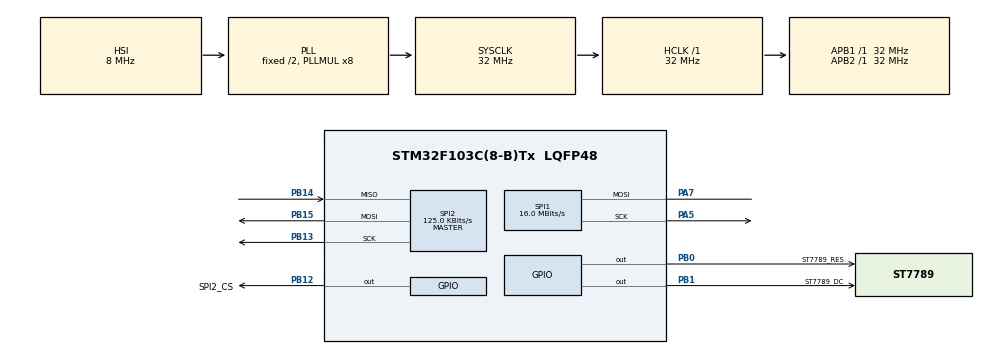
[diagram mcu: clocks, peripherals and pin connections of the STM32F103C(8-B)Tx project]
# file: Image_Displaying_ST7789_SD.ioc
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Mcu.Family=STM32F1
Mcu.Name=STM32F103C(8-B)Tx
Mcu.Package=LQFP48
NVIC.PriorityGroup=NVIC_PRIORITYGROUP_4
PA13.Mode=Serial_Wire
PA13.Signal=SYS_JTMS-SWDIO
PA14.Mode=Serial_Wire
PA14.Signal=SYS_JTCK-SWCLK
PA5.Mode=Simplex_Bidirectional_Master
PA5.Signal=SPI1_SCK
PA7.Mode=Simplex_Bidirectional_Master
PA7.Signal=SPI1_MOSI
PB0.GPIO_Label=ST7789_RES
PB0.GPIO_Speed=GPIO_SPEED_FREQ_HIGH
PB0.PinState=GPIO_PIN_SET
PB0.Signal=GPIO_Output
PB1.GPIO_Label=ST7789_DC
PB1.GPIO_Speed=GPIO_SPEED_FREQ_HIGH
PB1.Signal=GPIO_Output
PB12.GPIO_Label=SPI2_CS
PB12.GPIO_Speed=GPIO_SPEED_FREQ_HIGH
PB12.PinState=GPIO_PIN_SET
PB12.Signal=GPIO_Output
PB13.Mode=Full_Duplex_Master
PB13.Signal=SPI2_SCK
PB14.Mode=Full_Duplex_Master
PB14.Signal=SPI2_MISO
PB15.Mode=Full_Duplex_Master
PB15.Signal=SPI2_MOSI
ProjectManager.HeapSize=0x200
ProjectManager.StackSize=0x400
ProjectManager.TargetToolchain=STM32CubeIDE
RCC.AHBFreq_Value=32000000
RCC.APB1Freq_Value=32000000
RCC.APB1TimFreq_Value=32000000
RCC.APB2Freq_Value=32000000
RCC.APB2TimFreq_Value=32000000
RCC.HCLKFreq_Value=32000000
RCC.PLLMUL=RCC_PLL_MUL8
RCC.SYSCLKFreq_VALUE=32000000
RCC.SYSCLKSource=RCC_SYSCLKSOURCE_PLLCLK
RCC.USBFreq_Value=32000000
SPI1.CalculateBaudRate=16.0 MBits/s
SPI1.Direction=SPI_DIRECTION_1LINE
SPI1.Mode=SPI_MODE_MASTER
SPI1.VirtualType=VM_MASTER
SPI2.BaudRatePrescaler=SPI_BAUDRATEPRESCALER_256
SPI2.CalculateBaudRate=125.0 KBits/s
SPI2.Direction=SPI_DIRECTION_2LINES
SPI2.Mode=SPI_MODE_MASTER
SPI2.VirtualType=VM_MASTER
VP_FATFS_VS_Generic.Mode=User_defined
board=custom

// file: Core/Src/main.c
/* USER CODE BEGIN Header */
/**
  ******************************************************************************
  * @file           : main.c
  * @brief          : Main program body
  ******************************************************************************
  * @attention
  *
  * Copyright (c) 2024 STMicroelectronics.
  * All rights reserved.
  *
  * This software is licensed under terms that can be found in the LICENSE file
  * in the root directory of this software component.
  * If no LICENSE file comes with this software, it is provided AS-IS.
  *
  ******************************************************************************
  */
/* USER CODE END Header */
#include "main.h"
#include "fatfs.h"

/* USER CODE BEGIN Includes */
#include "fonts.h"
#include "st7789.h"

/* USER CODE END Includes */

/* USER CODE BEGIN PD */
#define PIXEL_BUF_SIZE 450
/* USER CODE END PD */

SPI_HandleTypeDef hspi1;
SPI_HandleTypeDef hspi2;

void SystemClock_Config(void);
static void MX_GPIO_Init(void);
static void MX_SPI1_Init(void);
static void MX_SPI2_Init(void);
/* USER CODE BEGIN PFP */
static void DrawImage_SD(TCHAR* imagePath);
/* USER CODE END PFP */

int main(void)
{

  /* MCU Configuration--------------------------------------------------------*/

  /* Reset of all peripherals, Initializes the Flash interface and the Systick. */
  HAL_Init();

  /* Configure the system clock */
  SystemClock_Config();

  /* Initialize all configured peripherals */
  MX_GPIO_Init();
  MX_FATFS_Init();
  MX_SPI1_Init();
  MX_SPI2_Init();
  /* USER CODE BEGIN 2 */

  ST7789_Init();

  disk_initialize(0);

  FATFS   fs;
  TCHAR   dstPath[] = "\\h1\\922817.bmp";

  if (f_mount(&fs, "", 1) == FR_OK)
  {
	  DrawImage_SD(dstPath);
  }
  /* USER CODE END 2 */
}

void SystemClock_Config(void)
{
  RCC_OscInitTypeDef RCC_OscInitStruct = {0};
  RCC_ClkInitTypeDef RCC_ClkInitStruct = {0};

  /** Initializes the RCC Oscillators according to the specified parameters
  * in the RCC_OscInitTypeDef structure.
  */
  RCC_OscInitStruct.OscillatorType = RCC_OSCILLATORTYPE_HSI;
  RCC_OscInitStruct.HSIState = RCC_HSI_ON;
  RCC_OscInitStruct.HSICalibrationValue = RCC_HSICALIBRATION_DEFAULT;
  RCC_OscInitStruct.PLL.PLLState = RCC_PLL_ON;
  RCC_OscInitStruct.PLL.PLLSource = RCC_PLLSOURCE_HSI_DIV2;
  RCC_OscInitStruct.PLL.PLLMUL = RCC_PLL_MUL8;
  if (HAL_RCC_OscConfig(&RCC_OscInitStruct) != HAL_OK)
  {
    Error_Handler();
  }

  /** Initializes the CPU, AHB and APB buses clocks
  */
  RCC_ClkInitStruct.ClockType = RCC_CLOCKTYPE_HCLK|RCC_CLOCKTYPE_SYSCLK
                              |RCC_CLOCKTYPE_PCLK1|RCC_CLOCKTYPE_PCLK2;
  RCC_ClkInitStruct.SYSCLKSource = RCC_SYSCLKSOURCE_PLLCLK;
  RCC_ClkInitStruct.AHBCLKDivider = RCC_SYSCLK_DIV1;
  RCC_ClkInitStruct.APB1CLKDivider = RCC_HCLK_DIV1;
  RCC_ClkInitStruct.APB2CLKDivider = RCC_HCLK_DIV1;

  if (HAL_RCC_ClockConfig(&RCC_ClkInitStruct, FLASH_LATENCY_1) != HAL_OK)
  {
    Error_Handler();
  }
}

static void MX_SPI1_Init(void)
{

  /* SPI1 parameter configuration*/
  hspi1.Instance = SPI1;
  hspi1.Init.Mode = SPI_MODE_MASTER;
  hspi1.Init.Direction = SPI_DIRECTION_1LINE;
  hspi1.Init.DataSize = SPI_DATASIZE_8BIT;
  hspi1.Init.CLKPolarity = SPI_POLARITY_LOW;
  hspi1.Init.CLKPhase = SPI_PHASE_1EDGE;
  hspi1.Init.NSS = SPI_NSS_SOFT;
  hspi1.Init.BaudRatePrescaler = SPI_BAUDRATEPRESCALER_2;
  hspi1.Init.FirstBit = SPI_FIRSTBIT_MSB;
  hspi1.Init.TIMode = SPI_TIMODE_DISABLE;
  hspi1.Init.CRCCalculation = SPI_CRCCALCULATION_DISABLE;
  hspi1.Init.CRCPolynomial = 10;
  if (HAL_SPI_Init(&hspi1) != HAL_OK)
  {
    Error_Handler();
  }
  /* USER CODE BEGIN SPI1_Init 2 */
  hspi1.Instance->CR1 |= SPI_CR1_BIDIOE;
  /* USER CODE END SPI1_Init 2 */

}

static void MX_SPI2_Init(void)
{

  /* SPI2 parameter configuration*/
  hspi2.Instance = SPI2;
  hspi2.Init.Mode = SPI_MODE_MASTER;
  hspi2.Init.Direction = SPI_DIRECTION_2LINES;
  hspi2.Init.DataSize = SPI_DATASIZE_8BIT;
  hspi2.Init.CLKPolarity = SPI_POLARITY_LOW;
  hspi2.Init.CLKPhase = SPI_PHASE_1EDGE;
  hspi2.Init.NSS = SPI_NSS_SOFT;
  hspi2.Init.BaudRatePrescaler = SPI_BAUDRATEPRESCALER_256;
  hspi2.Init.FirstBit = SPI_FIRSTBIT_MSB;
  hspi2.Init.TIMode = SPI_TIMODE_DISABLE;
  hspi2.Init.CRCCalculation = SPI_CRCCALCULATION_DISABLE;
  hspi2.Init.CRCPolynomial = 10;
  if (HAL_SPI_Init(&hspi2) != HAL_OK)
  {
    Error_Handler();
  }

}

static void MX_GPIO_Init(void)
{
  GPIO_InitTypeDef GPIO_InitStruct = {0};

  /* GPIO Ports Clock Enable */
  __HAL_RCC_GPIOA_CLK_ENABLE();
  __HAL_RCC_GPIOB_CLK_ENABLE();

  /*Configure GPIO pin Output Level */
  HAL_GPIO_WritePin(GPIOB, ST7789_RES_Pin|SPI2_CS_Pin, GPIO_PIN_SET);

  /*Configure GPIO pin Output Level */
  HAL_GPIO_WritePin(ST7789_DC_GPIO_Port, ST7789_DC_Pin, GPIO_PIN_RESET);

  /*Configure GPIO pins : ST7789_RES_Pin ST7789_DC_Pin SPI2_CS_Pin */
  GPIO_InitStruct.Pin = ST7789_RES_Pin|ST7789_DC_Pin|SPI2_CS_Pin;
  GPIO_InitStruct.Mode = GPIO_MODE_OUTPUT_PP;
  GPIO_InitStruct.Pull = GPIO_NOPULL;
  GPIO_InitStruct.Speed = GPIO_SPEED_FREQ_HIGH;
  HAL_GPIO_Init(GPIOB, &GPIO_InitStruct);

}

/* USER CODE BEGIN 4 */

static void transmitSPI(SPI_HandleTypeDef* hspi, uint8_t *data, uint8_t dataSize)
{
	hspi->Instance->CR1 |= SPI_CR1_SPE;

	for (int byteCount = 0; byteCount < dataSize; byteCount++)
	{
		while ((hspi->Instance->SR & SPI_FLAG_TXE) == 0);

		hspi->Instance->DR = *(data + byteCount);
	}

	while ((hspi->Instance->SR & SPI_FLAG_BSY) != 0);
}

void ST7789_transmitSPI(uint8_t *data, uint8_t dataSize)
{
	transmitSPI(&hspi1, data, dataSize);
}

void SD_transmitSPI(uint8_t *data, uint16_t dataSize)
{
	HAL_SPI_Transmit(&hspi2, data, dataSize, HAL_MAX_DELAY);
}

void SD_TransmitReceiveSPI_HAL(uint8_t *pTxData, uint8_t *pRxData, uint16_t size, uint32_t timeout)
{
	HAL_SPI_TransmitReceive(&hspi2, pTxData, pRxData, size, timeout);
}

void SD_ReceiveSPI_HAL(uint8_t *pRxData, uint16_t size, uint32_t timeout)
{
	HAL_SPI_Receive(&hspi2, pRxData, size, timeout);
}

static void DrawImage_SD(TCHAR* imagePath)
{
	FIL 	 fdst;
	FRESULT  res;
	uint8_t  bmpHeader[14];
	uint16_t pixelArrayBuff[PIXEL_BUF_SIZE];
	uint16_t beenRead;
	uint32_t pixelArrayOffset;

	res = f_open(&fdst, imagePath, FA_OPEN_EXISTING | FA_READ);

	//READING A HEADER
	res = f_read(&fdst, bmpHeader, sizeof(bmpHeader), &beenRead);

	if (res == FR_OK)
	{
		pixelArrayOffset = bmpHeader[10] | bmpHeader[11] << 8 | bmpHeader[12] << 16 | bmpHeader[13] << 24;

		f_lseek(&fdst, pixelArrayOffset);

		ST7789_SetAddressWindow(0, 0, ST7789_HEIGHT-1, ST7789_WIDTH-1);
		ST7789_SendCmd(ST7789_RAMWR);

		HAL_GPIO_WritePin(ST7789_DC_GPIO_Port, ST7789_DC_Pin, ST7789_DC_DATA);

		for (int i = 0; i < (240*240*16)/(8 * sizeof(pixelArrayBuff)); ++i)
		{
			res = f_read(&fdst, pixelArrayBuff, sizeof(pixelArrayBuff), &beenRead);

			for (int pixelNum = 0; pixelNum < sizeof(pixelArrayBuff) / sizeof(pixelArrayBuff[0]); ++pixelNum)
			{
				ST7789_SendDataPortion(pixelArrayBuff[pixelNum] >> 8);
				ST7789_SendDataPortion(pixelArrayBuff[pixelNum] & 0x00FF);

			}
		}
	}

	f_close(&fdst);
}

/* USER CODE END 4 */

void Error_Handler(void)
{
  __disable_irq();
  while (1)
  {
  }
}
